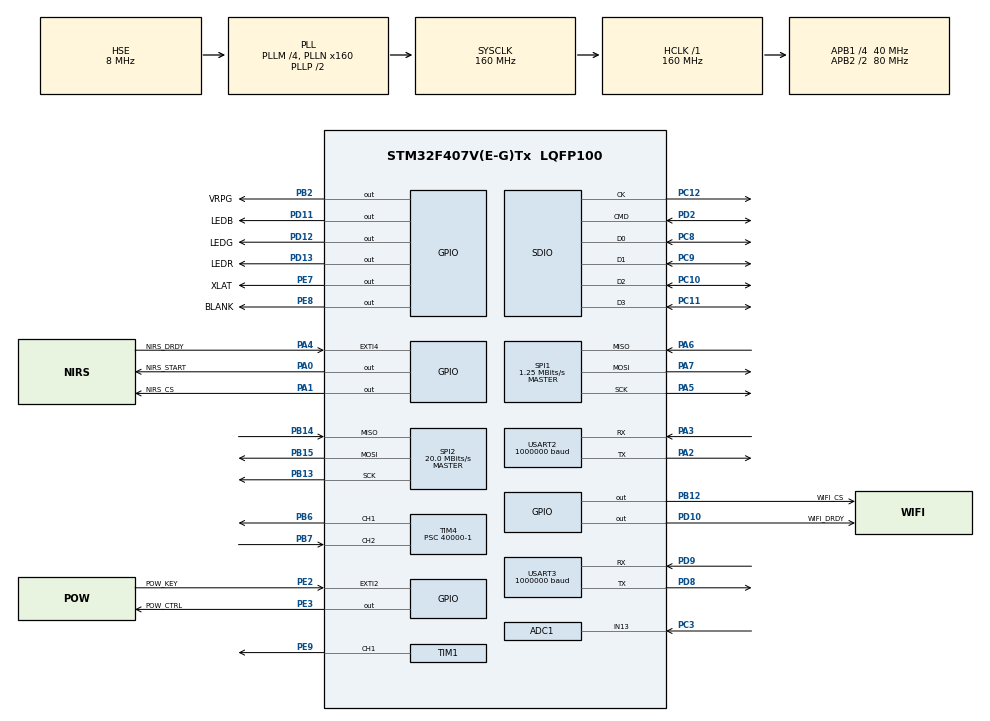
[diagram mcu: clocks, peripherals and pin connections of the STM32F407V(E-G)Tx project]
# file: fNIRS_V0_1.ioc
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ADC1.Channel-1\#ChannelRegularConversion=ADC_CHANNEL_13
ADC1.NbrOfConversionFlag=1
ADC1.Rank-1\#ChannelRegularConversion=1
ADC1.SamplingTime-1\#ChannelRegularConversion=ADC_SAMPLETIME_480CYCLES
ADC1.master=1
Dma.Request0=USART2_TX
Dma.Request1=USART3_TX
Dma.Request2=SPI2_TX
Dma.Request3=SDIO_TX
Dma.Request4=USART3_RX
Dma.SDIO_TX.3.Direction=DMA_MEMORY_TO_PERIPH
Dma.SDIO_TX.3.FIFOMode=DMA_FIFOMODE_ENABLE
Dma.SDIO_TX.3.FIFOThreshold=DMA_FIFO_THRESHOLD_FULL
Dma.SDIO_TX.3.Instance=DMA2_Stream3
Dma.SDIO_TX.3.MemBurst=DMA_MBURST_INC4
Dma.SDIO_TX.3.MemDataAlignment=DMA_MDATAALIGN_WORD
Dma.SDIO_TX.3.MemInc=DMA_MINC_ENABLE
Dma.SDIO_TX.3.Mode=DMA_PFCTRL
Dma.SDIO_TX.3.PeriphBurst=DMA_PBURST_INC4
Dma.SDIO_TX.3.PeriphDataAlignment=DMA_PDATAALIGN_WORD
Dma.SDIO_TX.3.PeriphInc=DMA_PINC_DISABLE
Dma.SDIO_TX.3.Priority=DMA_PRIORITY_HIGH
Dma.SPI2_TX.2.Direction=DMA_MEMORY_TO_PERIPH
Dma.SPI2_TX.2.FIFOMode=DMA_FIFOMODE_DISABLE
Dma.SPI2_TX.2.Instance=DMA1_Stream4
Dma.SPI2_TX.2.MemDataAlignment=DMA_MDATAALIGN_BYTE
Dma.SPI2_TX.2.MemInc=DMA_MINC_ENABLE
Dma.SPI2_TX.2.Mode=DMA_NORMAL
Dma.SPI2_TX.2.PeriphDataAlignment=DMA_PDATAALIGN_BYTE
Dma.SPI2_TX.2.PeriphInc=DMA_PINC_DISABLE
Dma.SPI2_TX.2.Priority=DMA_PRIORITY_HIGH
Dma.USART2_TX.0.Direction=DMA_MEMORY_TO_PERIPH
Dma.USART2_TX.0.FIFOMode=DMA_FIFOMODE_DISABLE
Dma.USART2_TX.0.Instance=DMA1_Stream6
Dma.USART2_TX.0.MemDataAlignment=DMA_MDATAALIGN_BYTE
Dma.USART2_TX.0.MemInc=DMA_MINC_ENABLE
Dma.USART2_TX.0.Mode=DMA_NORMAL
Dma.USART2_TX.0.PeriphDataAlignment=DMA_PDATAALIGN_BYTE
Dma.USART2_TX.0.PeriphInc=DMA_PINC_DISABLE
Dma.USART2_TX.0.Priority=DMA_PRIORITY_LOW
Dma.USART3_RX.4.Direction=DMA_PERIPH_TO_MEMORY
Dma.USART3_RX.4.FIFOMode=DMA_FIFOMODE_DISABLE
Dma.USART3_RX.4.Instance=DMA1_Stream1
Dma.USART3_RX.4.MemDataAlignment=DMA_MDATAALIGN_BYTE
Dma.USART3_RX.4.MemInc=DMA_MINC_ENABLE
Dma.USART3_RX.4.Mode=DMA_NORMAL
Dma.USART3_RX.4.PeriphDataAlignment=DMA_PDATAALIGN_BYTE
Dma.USART3_RX.4.PeriphInc=DMA_PINC_DISABLE
Dma.USART3_RX.4.Priority=DMA_PRIORITY_LOW
Dma.USART3_TX.1.Direction=DMA_MEMORY_TO_PERIPH
Dma.USART3_TX.1.FIFOMode=DMA_FIFOMODE_DISABLE
Dma.USART3_TX.1.Instance=DMA1_Stream3
Dma.USART3_TX.1.MemDataAlignment=DMA_MDATAALIGN_BYTE
Dma.USART3_TX.1.MemInc=DMA_MINC_ENABLE
Dma.USART3_TX.1.Mode=DMA_NORMAL
Dma.USART3_TX.1.PeriphDataAlignment=DMA_PDATAALIGN_BYTE
Dma.USART3_TX.1.PeriphInc=DMA_PINC_DISABLE
Dma.USART3_TX.1.Priority=DMA_PRIORITY_HIGH
Mcu.Family=STM32F4
Mcu.Name=STM32F407V(E-G)Tx
Mcu.Package=LQFP100
NVIC.DMA1_Stream1_IRQn=true\:1\:0\:true\:false\:true\:false\:true\:true
NVIC.DMA1_Stream3_IRQn=true\:1\:0\:true\:false\:true\:false\:true\:true
NVIC.DMA1_Stream4_IRQn=true\:1\:0\:true\:false\:true\:false\:true\:true
NVIC.DMA1_Stream6_IRQn=true\:1\:0\:true\:false\:true\:false\:true\:true
NVIC.DMA2_Stream3_IRQn=true\:1\:0\:true\:false\:true\:false\:true\:true
NVIC.EXTI4_IRQn=true\:5\:0\:true\:false\:true\:true\:true\:true
NVIC.PriorityGroup=NVIC_PRIORITYGROUP_4
NVIC.SDIO_IRQn=true\:3\:0\:true\:false\:true\:true\:true\:true
NVIC.SPI2_IRQn=true\:1\:0\:true\:false\:true\:true\:true\:true
NVIC.TIM2_IRQn=true\:4\:0\:true\:false\:true\:true\:true\:true
NVIC.TIM4_IRQn=true\:5\:0\:true\:false\:true\:true\:true\:true
NVIC.TIM6_DAC_IRQn=true\:6\:0\:true\:false\:true\:true\:true\:true
NVIC.USART2_IRQn=true\:7\:0\:true\:false\:true\:true\:true\:true
NVIC.USART3_IRQn=true\:1\:0\:true\:false\:true\:true\:true\:true
PA0-WKUP.GPIO_Label=NIRS_START
PA0-WKUP.PinState=GPIO_PIN_RESET
PA0-WKUP.Signal=GPIO_Output
PA1.GPIO_Label=NIRS_CS
PA1.PinState=GPIO_PIN_SET
PA1.Signal=GPIO_Output
PA13.Mode=Serial_Wire
PA13.Signal=SYS_JTMS-SWDIO
PA14.Mode=Serial_Wire
PA14.Signal=SYS_JTCK-SWCLK
PA2.Mode=Asynchronous
PA2.Signal=USART2_TX
PA3.Mode=Asynchronous
PA3.Signal=USART2_RX
PA4.GPIO_Label=NIRS_DRDY
PA4.GPIO_ModeDefaultEXTI=GPIO_MODE_IT_FALLING
PA4.GPIO_PuPd=GPIO_PULLDOWN
PA4.Signal=GPXTI4
PA5.Mode=Full_Duplex_Master
PA5.Signal=SPI1_SCK
PA6.Mode=Full_Duplex_Master
PA6.Signal=SPI1_MISO
PA7.Mode=Full_Duplex_Master
PA7.Signal=SPI1_MOSI
PB12.GPIO_Label=WIFI_CS
PB12.PinState=GPIO_PIN_SET
PB12.Signal=GPIO_Output
PB13.Mode=Full_Duplex_Master
PB13.Signal=SPI2_SCK
PB14.Mode=Full_Duplex_Master
PB14.Signal=SPI2_MISO
PB15.Mode=Full_Duplex_Master
PB15.Signal=SPI2_MOSI
PB2.GPIO_Label=VRPG
PB2.Signal=GPIO_Output
PB6.Signal=S_TIM4_CH1
PB7.Signal=S_TIM4_CH2
PC10.Mode=SD_4_bits_Wide_bus
PC10.Signal=SDIO_D2
PC11.Mode=SD_4_bits_Wide_bus
PC11.Signal=SDIO_D3
PC12.Mode=SD_4_bits_Wide_bus
PC12.Signal=SDIO_CK
PC14-OSC32_IN.Mode=LSE-External-Oscillator
PC14-OSC32_IN.Signal=RCC_OSC32_IN
PC15-OSC32_OUT.Mode=LSE-External-Oscillator
PC15-OSC32_OUT.Signal=RCC_OSC32_OUT
PC3.Signal=ADCx_IN13
PC8.Mode=SD_4_bits_Wide_bus
PC8.Signal=SDIO_D0
PC9.Mode=SD_4_bits_Wide_bus
PC9.Signal=SDIO_D1
PD10.GPIO_Label=WIFI_DRDY
PD10.Signal=GPIO_Output
PD11.GPIO_Label=LEDB
PD11.Signal=GPIO_Output
PD12.GPIO_Label=LEDG
PD12.Signal=GPIO_Output
PD13.GPIO_Label=LEDR
PD13.Signal=GPIO_Output
PD2.Mode=SD_4_bits_Wide_bus
PD2.Signal=SDIO_CMD
PD8.Mode=Asynchronous
PD8.Signal=USART3_TX
PD9.Mode=Asynchronous
PD9.Signal=USART3_RX
PE2.GPIO_Label=POW_KEY
PE2.GPIO_ModeDefaultEXTI=GPIO_MODE_IT_FALLING
PE2.GPIO_PuPd=GPIO_PULLUP
PE2.Signal=GPXTI2
PE3.GPIO_Label=POW_CTRL
PE3.Signal=GPIO_Output
PE7.GPIO_Label=XLAT
PE7.Signal=GPIO_Output
PE8.GPIO_Label=BLANK
PE8.PinState=GPIO_PIN_SET
PE8.Signal=GPIO_Output
PE9.Signal=S_TIM1_CH1
PH0-OSC_IN.Mode=HSE-External-Oscillator
PH0-OSC_IN.Signal=RCC_OSC_IN
PH1-OSC_OUT.Mode=HSE-External-Oscillator
PH1-OSC_OUT.Signal=RCC_OSC_OUT
ProjectManager.HeapSize=0x200
ProjectManager.StackSize=0x400
ProjectManager.TargetToolchain=MDK-ARM V5.32
RCC.48MHZClocksFreq_Value=45714285.71428572
RCC.AHBFreq_Value=160000000
RCC.APB1CLKDivider=RCC_HCLK_DIV4
RCC.APB1Freq_Value=40000000
RCC.APB1TimFreq_Value=80000000
RCC.APB2CLKDivider=RCC_HCLK_DIV2
RCC.APB2Freq_Value=80000000
RCC.APB2TimFreq_Value=160000000
RCC.CortexFreq_Value=160000000
RCC.HCLKFreq_Value=160000000
RCC.HSE_VALUE=8000000
RCC.HSI_VALUE=16000000
RCC.PLLM=4
RCC.PLLN=160
RCC.PLLQ=7
RCC.PLLSourceVirtual=RCC_PLLSOURCE_HSE
RCC.SYSCLKFreq_VALUE=160000000
RCC.SYSCLKSource=RCC_SYSCLKSOURCE_PLLCLK
RCC.VCOOutputFreq_Value=320000000
SDIO.ClockBypass=SDIO_CLOCK_BYPASS_DISABLE
SDIO.ClockDiv=12
SDIO.ClockPowerSave=SDIO_CLOCK_POWER_SAVE_DISABLE
SH.ADCx_IN13.0=ADC1_IN13,IN13
SH.S_TIM1_CH1.0=TIM1_CH1,PWM Generation1 CH1
SH.S_TIM4_CH1.0=TIM4_CH1,PWM Generation1 CH1
SH.S_TIM4_CH2.0=TIM4_CH2,Input_Capture2_from_TI2
SPI1.BaudRatePrescaler=SPI_BAUDRATEPRESCALER_64
SPI1.CalculateBaudRate=1.25 MBits/s
SPI1.Direction=SPI_DIRECTION_2LINES
SPI1.Mode=SPI_MODE_MASTER
SPI1.VirtualType=VM_MASTER
SPI2.BaudRatePrescaler=SPI_BAUDRATEPRESCALER_2
SPI2.CalculateBaudRate=20.0 MBits/s
SPI2.Direction=SPI_DIRECTION_2LINES
SPI2.Mode=SPI_MODE_MASTER
SPI2.VirtualType=VM_MASTER
TIM1.Channel-PWM\ Generation1\ CH1=TIM_CHANNEL_1
TIM1.Period=40-1
TIM1.Prescaler=1-1
TIM1.Pulse-PWM\ Generation1\ CH1=20
TIM1.TIM_MasterOutputTrigger=TIM_TRGO_OC1
TIM1.TIM_MasterSlaveMode=TIM_MASTERSLAVEMODE_ENABLE
TIM2.Period=4095
TIM4.Channel-Input_Capture2_from_TI2=TIM_CHANNEL_2
TIM4.Channel-PWM\ Generation1\ CH1=TIM_CHANNEL_1
TIM4.ICPolarity_CH2=TIM_INPUTCHANNELPOLARITY_BOTHEDGE
TIM4.Period=2000-1
TIM4.Prescaler=40000-1
TIM4.Pulse-PWM\ Generation1\ CH1=1700
TIM4.TIM_MasterOutputTrigger=TIM_TRGO_UPDATE
TIM4.TIM_MasterSlaveMode=TIM_MASTERSLAVEMODE_ENABLE
TIM6.Period=1000-1
TIM6.Prescaler=400-1
USART2.BaudRate=1000000
USART2.VirtualMode=VM_ASYNC
USART3.BaudRate=1000000
USART3.VirtualMode=VM_ASYNC
VP_TIM1_VS_ClockSourceINT.Mode=Internal
VP_TIM2_VS_ClockSourceITR.Mode=TriggerSource_ITR0
VP_TIM2_VS_ControllerModeClock.Mode=Clock Mode
VP_TIM4_VS_ClockSourceINT.Mode=Internal
VP_TIM6_VS_ClockSourceINT.Mode=Enable_Timer
board=custom

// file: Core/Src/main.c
/* USER CODE BEGIN Header */
/**
  ******************************************************************************
  * @file           : main.c
  * @brief          : Main program body
  ******************************************************************************
  * @attention
  *
  * Copyright (c) 2025 STMicroelectronics.
  * All rights reserved.
  *
  * This software is licensed under terms that can be found in the LICENSE file
  * in the root directory of this software component.
  * If no LICENSE file comes with this software, it is provided AS-IS.
  *
  ******************************************************************************
  */
/* USER CODE END Header */
#include "main.h"
#include "adc.h"
#include "dma.h"
#include "sdio.h"
#include "spi.h"
#include "tim.h"
#include "usart.h"
#include "gpio.h"

/* USER CODE BEGIN Includes */
#include "led.h"
#include "utils.h"
#include "key.h"
#include "bat_adc.h"
#include "fnirs.h"
#include "transmit.h"
#include "CSNP32.h"
#include "tlc5940.h"
#include "ads1258.h"
/* USER CODE END Includes */

void SystemClock_Config(void);

/* USER CODE BEGIN 0 */
uint8_t g_timer_ready_flag = 0;

void HAL_TIM_PeriodElapsedCallback(TIM_HandleTypeDef *htim)
{
	static uint32_t __cnt = 0;
	if(htim == &htim6)
		{
			uint8_t key_state = 0;
			key_state = KEY_Scan();		//按键检测
			__cnt++;
			if(key_state==0 && __cnt >1000){
				get_battery_status();		//10S检测一次电量
				//HAL_UART_Transmit(&huart2, txd, 30, 100);
				__cnt = 0;
			}
		}

	if(htim == g_tlc.tlctim)
	{
		g_timer_ready_flag = 1;
	}
  if(htim == &htim2){
    SETBLANK(GPIO_ON);
    SETBLANK(GPIO_OFF);
  }

}
void HAL_TIM_IC_CaptureCallback(TIM_HandleTypeDef *htim)
{
  if(htim == g_tlc.tlctim)
  {
    // 判断边沿类型
    if(g_tlc.tlctim_polarity == TIM_ICPOLARITY_RISING)
    {
      g_timer_ready_flag = 1;
      // 切换为下降沿检测
      __HAL_TIM_SET_CAPTUREPOLARITY(g_tlc.tlctim, TIM_CHANNEL_2, TIM_ICPOLARITY_FALLING);
      g_tlc.tlctim_polarity = TIM_INPUTCHANNELPOLARITY_FALLING;
    }
    else
    {
      // 下降沿处理
      g_timer_ready_flag = 2;
      // 切换为上升沿检测
      __HAL_TIM_SET_CAPTUREPOLARITY(g_tlc.tlctim, TIM_CHANNEL_2, TIM_ICPOLARITY_RISING);
      g_tlc.tlctim_polarity = TIM_INPUTCHANNELPOLARITY_RISING;
    }
  }
}
/* USER CODE END 0 */

int main(void)
{

  /* USER CODE BEGIN 1 */
  /* 若用cubemx重新生成配置后，需要修改sdio.c内
      hsd.Init.BusWide = SDIO_BUS_WIDE_4B;
      中SDIO_BUS_WIDE_4B改为SDIO_BUS_WIDE_1B。
      否则会报错无法正常运行。 */
  uint16_t ads_channel = 0x0020;
  /* USER CODE END 1 */

  /* MCU Configuration--------------------------------------------------------*/

  /* Reset of all peripherals, Initializes the Flash interface and the Systick. */
  HAL_Init();

  /* Configure the system clock */
  SystemClock_Config();

  /* Initialize all configured peripherals */
  MX_GPIO_Init();
  MX_DMA_Init();
  MX_ADC1_Init();
  MX_SDIO_SD_Init();
  MX_SPI1_Init();
  MX_SPI2_Init();
  MX_USART3_UART_Init();
  MX_USART2_UART_Init();
  MX_TIM6_Init();
  MX_TIM1_Init();
  MX_TIM2_Init();
  MX_TIM4_Init();
  /* USER CODE BEGIN 2 */
	SwitchOn(100);
	detect_battery_status();
	HAL_TIM_Base_Start_IT(&htim6);
	nirs_init();
	DebugPrintf("stm32 init done.");
//  ads1258init();
//  set_ads_channel(&ads_channel);
//  ADS1258_START(HIGH);
  /* USER CODE END 2 */

  /* Infinite loop */
  /* USER CODE BEGIN WHILE */
  while (1)
  {
//
//    for(uint8_t i = 0; i<1; i++){
//      tlcSetGS(i, 0x0fff, 1, 1);
//      HAL_Delay(100);
//      tlcSetGS(i, 0x0fff, 0, 1);
//      HAL_Delay(2000);
//    }
    /* 检查UART接收是否完成 */
    if (g_uart_rx_buffer.data_ready_flag) {
        /* 输出接收到的数据长度信息 */
        //DebugPrintf("UART received %d bytes of data", g_uart_rx_buffer.write_index);

        /* 清除接收完成标志，准备接收下一帧数据 */
        g_uart_rx_buffer.data_ready_flag = 0;

        /* 设置白色LED指示接收到数据 */
        set_led_color('w');  /* 白色LED表示数据接收成功但尚未处理或响应 */

        /* 解码并处理接收到的命令 */
        decode_received_command(g_uart_rx_buffer.buffer, g_uart_rx_buffer.write_index);
    }

    /* 检查定时器是否就绪（定时触发事件） */
    if (g_timer_ready_flag) {
        uint8_t flag = g_timer_ready_flag;
        /* 清除定时器就绪标志 */
        g_timer_ready_flag = 0;

        /* 执行fNIRS定时器处理函数 */
          nirs_timer_handle(flag);
    }
    if(g_fnirs_ready_flag){
      nirs_data_send();
      g_fnirs_ready_flag = 0;
    }

    /* USER CODE END WHILE */

  }
}

void SystemClock_Config(void)
{
  RCC_OscInitTypeDef RCC_OscInitStruct = {0};
  RCC_ClkInitTypeDef RCC_ClkInitStruct = {0};

  /** Configure the main internal regulator output voltage
  */
  __HAL_RCC_PWR_CLK_ENABLE();
  __HAL_PWR_VOLTAGESCALING_CONFIG(PWR_REGULATOR_VOLTAGE_SCALE1);

  /** Initializes the RCC Oscillators according to the specified parameters
  * in the RCC_OscInitTypeDef structure.
  */
  RCC_OscInitStruct.OscillatorType = RCC_OSCILLATORTYPE_HSE;
  RCC_OscInitStruct.HSEState = RCC_HSE_ON;
  RCC_OscInitStruct.PLL.PLLState = RCC_PLL_ON;
  RCC_OscInitStruct.PLL.PLLSource = RCC_PLLSOURCE_HSE;
  RCC_OscInitStruct.PLL.PLLM = 4;
  RCC_OscInitStruct.PLL.PLLN = 160;
  RCC_OscInitStruct.PLL.PLLP = RCC_PLLP_DIV2;
  RCC_OscInitStruct.PLL.PLLQ = 7;
  if (HAL_RCC_OscConfig(&RCC_OscInitStruct) != HAL_OK)
  {
    Error_Handler();
  }

  /** Initializes the CPU, AHB and APB buses clocks
  */
  RCC_ClkInitStruct.ClockType = RCC_CLOCKTYPE_HCLK|RCC_CLOCKTYPE_SYSCLK
                              |RCC_CLOCKTYPE_PCLK1|RCC_CLOCKTYPE_PCLK2;
  RCC_ClkInitStruct.SYSCLKSource = RCC_SYSCLKSOURCE_PLLCLK;
  RCC_ClkInitStruct.AHBCLKDivider = RCC_SYSCLK_DIV1;
  RCC_ClkInitStruct.APB1CLKDivider = RCC_HCLK_DIV4;
  RCC_ClkInitStruct.APB2CLKDivider = RCC_HCLK_DIV2;

  if (HAL_RCC_ClockConfig(&RCC_ClkInitStruct, FLASH_LATENCY_5) != HAL_OK)
  {
    Error_Handler();
  }
}

void Error_Handler(void)
{
  /* USER CODE BEGIN Error_Handler_Debug */
  /* User can add his own implementation to report the HAL error return state */
  HAL_TIM_Base_Stop_IT(&htim6);
  HAL_TIM_Base_Stop_IT(&htim2);

	set_led_color('p');
  while (1)
  {
    SwitchOff(500);
    if(ReadKey() == 0){
      __disable_irq();
    }
  }
  /* USER CODE END Error_Handler_Debug */
}
